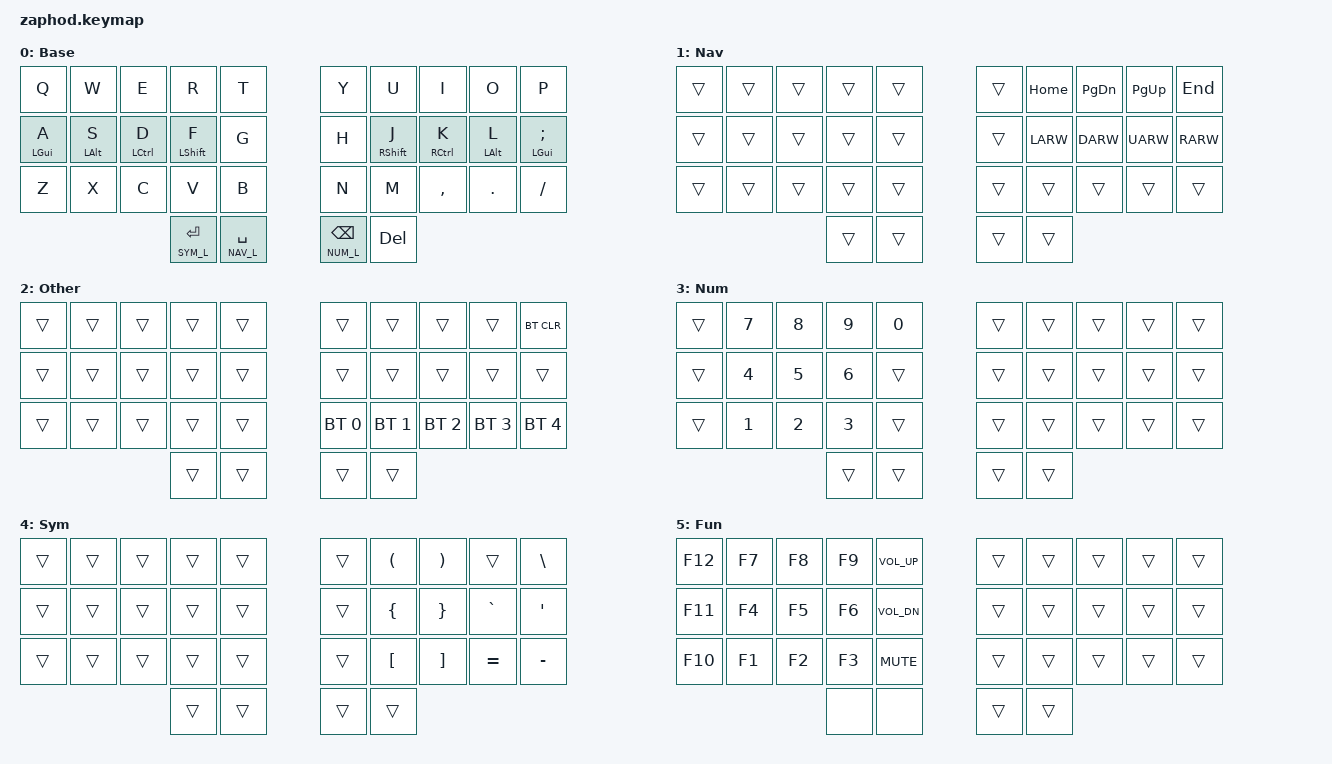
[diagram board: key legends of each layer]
/*
 * Copyright (c) 2021 Pete Johanson
 *
 * SPDX-License-Identifier: MIT
 */

#include <behaviors.dtsi>
#include <dt-bindings/zmk/keys.h>
#include <dt-bindings/zmk/bt.h>
#include <dt-bindings/zmk/outputs.h>

#define NAV_L 1
#define OTH_L 2
#define NUM_L 3
#define SYM_L 4
#define FUN_L 5

// Using layer taps on thumbs, having quick tap as well helps w/ repeating space/backspace
&lt { quick_tap_ms = <200>; };

/ {
    combos {
        compatible = "zmk,combos";

        med_mo {
	    timeout-ms = <50>;
            key-positions = <30 31>;
            bindings = <&kp TAB>;
        };

        fn_mo {
	    timeout-ms = <50>;
            key-positions = <32 33>;
            bindings = <&lt OTH_L ESC>;
        };

    };

    behaviors {
        hm: homerow_mods {
            compatible = "zmk,behavior-hold-tap";
            label = "homerow mods";
            #binding-cells = <2>;
            tapping_term_ms = <200>;
            flavor = "tap-preferred";
            bindings = <&kp>, <&kp>;
        };
    };

    keymap {
        compatible = "zmk,keymap";

        default_layer {
            label = "Base";
            bindings = <
                &kp Q      &kp W      &kp E       &kp R          &kp T            &kp Y            &kp U          &kp I       &kp O      &kp P
                &hm LGUI A &hm LALT S &hm LCTRL D &hm LSHFT F    &kp G            &kp H            &hm RSHFT J    &hm RCTRL K &hm LALT L &hm LGUI SEMI
                &kp Z      &kp X      &kp C       &kp V          &kp B            &kp N            &kp M          &kp COMMA   &kp DOT    &kp FSLH
                                                  &lt SYM_L RET  &lt NAV_L SPACE  &lt NUM_L BKSP   &kp DEL
            >;
        };

        nav_layer {
            label = "Nav";
            bindings = <
                &trans     &trans     &trans      &trans          &trans       &trans           &kp HOME       &kp PG_DN   &kp PG_UP  &kp END
                &trans     &trans     &trans      &trans          &trans       &trans           &kp LARW       &kp DARW    &kp UARW   &kp RARW
                &trans     &trans     &trans      &trans          &trans       &trans           &trans         &trans      &trans     &trans
                                                  &trans          &trans       &trans           &trans
            >;
        };

        other_layer {
            label = "Other";
            bindings = <
                &trans	   &trans     &trans      &trans          &trans       &trans           &trans         &trans       &trans       &bt BT_CLR
                &trans     &trans     &trans      &trans          &trans       &trans           &trans         &trans       &trans       &trans
                &trans     &trans     &trans      &trans          &trans       &bt BT_SEL 0     &bt BT_SEL 1   &bt BT_SEL 2 &bt BT_SEL 3 &bt BT_SEL 4
                                                  &trans          &trans       &trans           &trans
            >;
        };

        num_layer {
            label = "Num";
            bindings = <
                &trans     &kp N7     &kp N8      &kp N9          &kp N0       &trans           &trans         &trans      &trans     &trans
                &trans     &kp N4     &kp N5      &kp N6          &trans       &trans           &trans         &trans      &trans     &trans
                &trans     &kp N1     &kp N2      &kp N3          &trans       &trans           &trans         &trans      &trans     &trans
                                                  &trans          &trans       &trans           &trans
            >;
        };

        sym_layer {
            label = "Sym";
            bindings = <
                &trans     &trans      &trans     &trans          &trans       &trans         &kp LPAR       &kp RPAR     &trans      &kp BSLH
                &trans     &trans      &trans     &trans          &trans       &trans         &kp LBRC       &kp RBRC     &kp GRAVE   &kp QUOT
                &trans     &trans      &trans     &trans          &trans       &trans         &kp LBKT       &kp RBKT     &kp EQUAL   &kp MINUS
                                                  &trans          &trans       &trans         &trans
            >;
        };

        fun_layer {
            label = "Fun";
            bindings = <
                &kp F12     &kp F7     &kp F8      &kp F9     &kp C_VOL_UP     &trans          &trans         &trans      &trans     &trans
                &kp F11     &kp F4     &kp F5      &kp F6     &kp C_VOL_DN     &trans          &trans         &trans      &trans     &trans
                &kp F10     &kp F1     &kp F2      &kp F3     &kp C_MUTE       &trans          &trans         &trans      &trans     &trans
                                                   &none      &none            &trans          &trans
            >;
        };
    };
};

